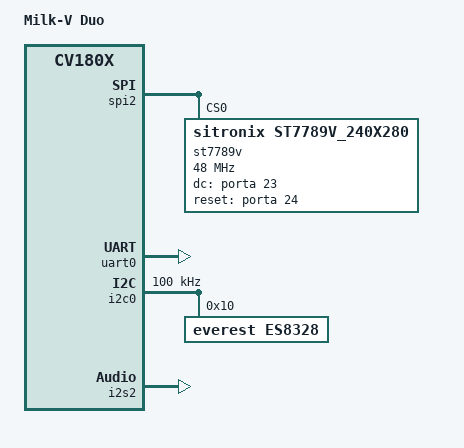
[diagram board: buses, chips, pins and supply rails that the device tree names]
/dts-v1/;
#include "cv180x_base_riscv.dtsi"
#include "cv180x_asic_qfn.dtsi"
#include "cv180x_asic_sd.dtsi"
#include "cv180x_default_memmap.dtsi"

&mipi_rx{
	snsr-reset = <&portc 8 GPIO_ACTIVE_LOW>, <&portc 8 GPIO_ACTIVE_LOW>, <&portc 8 GPIO_ACTIVE_LOW>;
};

&spi2 {
	status = "okay";
	/delete-node/ spidev@0;
	st7789v: st7789v@0{
		compatible = "sitronix,st7789v_240x280";
		reg = <0>;
		status = "okay";
		spi-max-frequency = <48000000>;
		dc-gpios = <&porta 23 GPIO_ACTIVE_HIGH>;
		reset-gpios = <&porta 24 GPIO_ACTIVE_HIGH>;
		debug = <0x0>;
	};
};

&uart0 {
	status = "okay";
};

&i2c0 {
       status = "okay";
       clock-frequency = <100000>;

	   es8328: es8328@10 {
		#sound-dai-cells = <0>;
		compatible = "everest,es8328";
		reg = <0x10>;
	};
};

&i2s2 {
	status = "okay";
	#sound-dai-cells = <0>;
};

/ {
	model = "Milk-V Duo";
};

